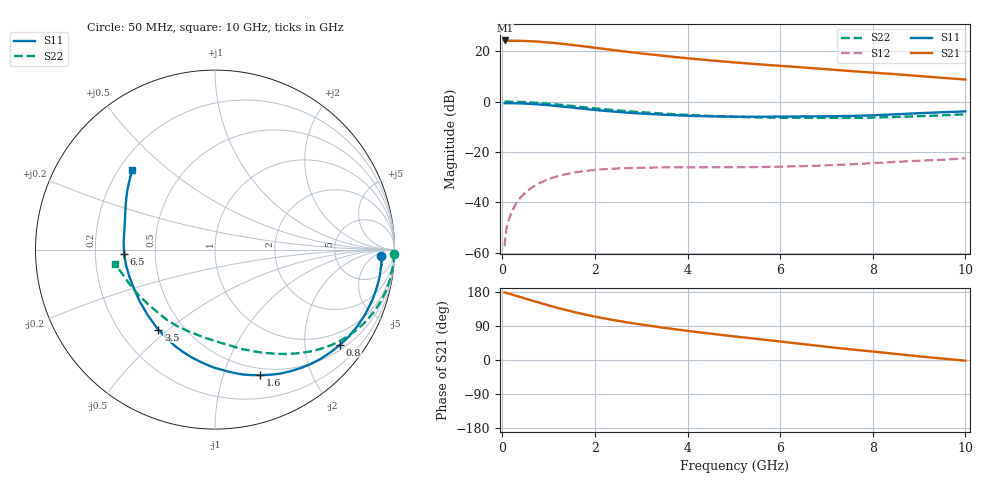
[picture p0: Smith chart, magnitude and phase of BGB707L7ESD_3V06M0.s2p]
! (c) 2009  Infineon Technologies AG, Munich
!  Infineon Technologies AG
!  BGB707L7ESD RU919007 w#7 Sample Build #08493 Teil Nr. 3
!  Vce = 3.0V, Ic = 6.0mA
!  DATUM: 30.06.2009 10:18:11
# GHz  S  MA  R  50
!f  S11  S21  S12  S22
!GHz  Mag  Ang  Mag  Ang  Mag  Ang  Mag  Ang
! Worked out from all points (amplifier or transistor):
!   52 points, 50 MHz to 10 GHz, reference 50 ohm
!   highest |S21| = 24.3 dB at 60 MHz (marker M1)
!   |S21| within 3 dB of that: start of sweep to 2.042 GHz
!   unconditionally stable (mu >= 1): 6.067 GHz to 9.835 GHz
!   at 130 MHz: K = 0.04, MSG = 35.9 dB, |S12| = -47.6 dB
!   at 1.4 GHz: K = 0.18, MSG = 25.7 dB, |S12| = -28.7 dB
!   at 10 GHz: K = 0.98, MSG = 15.7 dB, |S12| = -22.5 dB
!   lowest NFmin = 0.45 dB at 100 MHz
!   S11 on the Smith chart (normalised r, x): 50 MHz: 21, -11; 800 MHz: 0.63, -2.85; 1.6 GHz: 0.43, -1.33; 3.5 GHz: 0.36, -0.46; 6.5 GHz: 0.33, -0.02; 10 GHz: 0.25, +0.38
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0.05  0.9279 -2.1  16.1 178.3  0.001343 106.3  0.9973 -1.3
0.06  0.9325 -2.6  16.38 177.9  0.001877 88.5  0.9979 -1.7
0.08  0.9297 -3.5  16.1 177.0  0.002413 89.4  0.9981 -2.4
0.09  0.9308 -4.5  16.23 177.3  0.00297 87.2  0.9977 -2.7
0.1  0.9291 -4.7  16.16 176.3  0.003264 88.4  0.9975 -3.0
0.2  0.9295 -9.5  16.21 173.2  0.006351 84.1  0.9945 -6.1
0.45  0.9138 -21.2  16.05 163.8  0.01408 77.3  0.9796 -13.8
0.8  0.8761 -37.2  15.43 151.2  0.02397 67.7  0.9383 -23.9
1  0.847 -45.9  14.93 144.2  0.02884 62.6  0.9071 -29.4
1.2  0.8134 -54.4  14.34 137.4  0.03304 57.7  0.873 -34.6
1.6  0.7434 -70.2  13.03 125.2  0.03954 49.2  0.8016 -43.9
1.8  0.7132 -77.3  12.39 119.8  0.04191 45.8  0.7671 -48.1
2.2  0.6567 -90.7  11.13 109.9  0.04533 39.9  0.7057 -55.5
2.6  0.6137 -102.5  9.993 101.4  0.04741 35.6  0.6551 -61.9
3  0.5791 -113.3  9.056 93.6  0.04864 32.4  0.6149 -67.8
3.5  0.5469 -125.4  8.067 84.8  0.04936 29.6  0.5753 -74.5
4.5  0.5087 -145.5  6.571 69.5  0.04959 27.8  0.518 -87.2
5.5  0.5003 -162.6  5.537 55.6  0.05007 29.3  0.4857 -101.3
6.5  0.5071 -177.5  4.761 41.9  0.05232 32.7  0.4757 -116.6
7  0.511 174.8  4.399 34.9  0.05419 34.4  0.4741 -124.7
8.5  0.5597 152.7  3.498 16.0  0.06349 37.7  0.4956 -149.2
10  0.6389 136.3  2.745 -1.8  0.07462 37.9  0.561 -171.7
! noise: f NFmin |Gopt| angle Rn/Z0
0.1  0.45  0.46  2  0.18
0.45  0.53  0.46  4  0.18
0.9  0.61  0.47  12  0.18
1.8  0.63  0.4  33  0.17
5  0.92  0.31  70  0.16
10  1.53  0.4  -131  0.13
